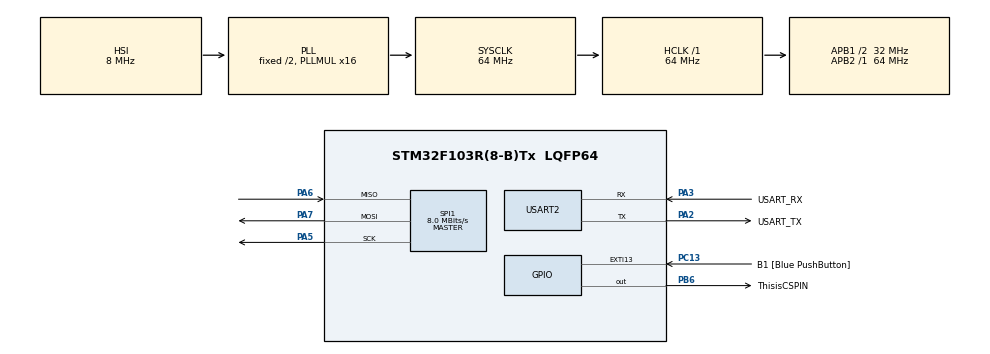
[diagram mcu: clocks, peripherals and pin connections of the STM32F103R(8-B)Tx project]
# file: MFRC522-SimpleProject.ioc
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Mcu.Family=STM32F1
PC15-OSC32_OUT.Mode=LSE-External-Oscillator
PA2.GPIO_PuPd=GPIO_NOPULL
PA6.Mode=Full_Duplex_Master
PA7.Mode=Full_Duplex_Master
PD1-OSC_OUT.Mode=HSE-External-Clock-Source
SPI1.VirtualType=VM_MASTER
PA14.GPIO_Label=TCK
PA3.GPIO_PuPd=GPIO_NOPULL
PA2.GPIO_Speed=GPIO_SPEED_FREQ_LOW
PC13-TAMPER-RTC.Signal=GPXTI13
PB6.GPIO_Label=ThisisCSPIN
PD0-OSC_IN.Signal=RCC_OSC_IN
RCC.APB1CLKDivider=RCC_HCLK_DIV2
PC14-OSC32_IN.Signal=RCC_OSC32_IN
PA3.GPIO_Speed=GPIO_SPEED_FREQ_LOW
RCC.SYSCLKSource=RCC_SYSCLKSOURCE_PLLCLK
ProjectManager.StackSize=0x400
PD1-OSC_OUT.Signal=RCC_OSC_OUT
PA13.Signal=SYS_JTMS-SWDIO
PA3.Mode=Asynchronous
ProjectManager.TargetToolchain=STM32CubeIDE
PA3.GPIO_Mode=GPIO_MODE_AF_PP
SPI1.Direction=SPI_DIRECTION_2LINES
RCC.HCLKFreq_Value=64000000
RCC.APB2TimFreq_Value=64000000
PB6.Signal=GPIO_Output
SPI1.CalculateBaudRate=8.0 MBits/s
RCC.USBFreq_Value=64000000
PC15-OSC32_OUT.Signal=RCC_OSC32_OUT
RCC.AHBFreq_Value=64000000
PD0-OSC_IN.Mode=HSE-External-Clock-Source
NVIC.EXTI15_10_IRQn=true\:0\:0\:false\:false\:true\:true\:true
PA5.Signal=SPI1_SCK
board=NUCLEO-F103RB
RCC.RTCClockSelection=RCC_RTCCLKSOURCE_LSE
PC13-TAMPER-RTC.GPIO_Label=B1 [Blue PushButton]
RCC.PLLMUL=RCC_PLL_MUL16
RCC.APB2Freq_Value=64000000
PC14-OSC32_IN.Mode=LSE-External-Oscillator
SPI1.Mode=SPI_MODE_MASTER
PA14.Mode=Serial_Wire
PA13.Mode=Serial_Wire
Mcu.Name=STM32F103R(8-B)Tx
PA2.Signal=USART2_TX
PA13.GPIO_Label=TMS
PB3.Signal=SYS_JTDO-TRACESWO
RCC.SYSCLKFreq_VALUE=64000000
Mcu.Package=LQFP64
PA6.Signal=SPI1_MISO
USART2.VirtualMode=VM_ASYNC
PC13-TAMPER-RTC.GPIO_PuPd=GPIO_NOPULL
PA2.GPIO_Label=USART_TX
PA14.Signal=SYS_JTCK-SWCLK
ProjectManager.HeapSize=0x200
NVIC.PriorityGroup=NVIC_PRIORITYGROUP_4
RCC.APB1TimFreq_Value=64000000
PA2.Mode=Asynchronous
RCC.APB1Freq_Value=32000000
SPI1.BaudRatePrescaler=SPI_BAUDRATEPRESCALER_8
PA3.GPIO_Label=USART_RX
PA3.Signal=USART2_RX
PA5.Mode=Full_Duplex_Master
PA7.Signal=SPI1_MOSI
PA2.GPIO_Mode=GPIO_MODE_AF_PP
PB3.GPIO_Label=SWO

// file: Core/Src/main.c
/* USER CODE BEGIN Header */
/**
  ******************************************************************************
  * @file           : main.c
  * @brief          : Main program body
  ******************************************************************************
  * @attention
  *
  * <h2><center>&copy; Copyright (c) 2021 STMicroelectronics.
  * All rights reserved.</center></h2>
  *
  * This software component is licensed by ST under BSD 3-Clause license,
  * the "License"; You may not use this file except in compliance with the
  * License. You may obtain a copy of the License at:
  *                        opensource.org/licenses/BSD-3-Clause
  *
  ******************************************************************************
  */
/* USER CODE END Header */
#include "main.h"

/* USER CODE BEGIN Includes */
#include "rc522.h"
#include <stdio.h>
#include <string.h>
/* USER CODE END Includes */

SPI_HandleTypeDef hspi1;

UART_HandleTypeDef huart2;

/* USER CODE BEGIN PV */
uint8_t str[MAX_LEN];
uint8_t UID[5];
uint8_t  KEY[] = {0xFF,0xFF,0xFF,0xFF,0xFF,0xFF};
uint8_t W[]="POZDRAWIAM";
uint8_t R[16];
/* USER CODE END PV */

void SystemClock_Config(void);
static void MX_GPIO_Init(void);
static void MX_USART2_UART_Init(void);
static void MX_SPI1_Init(void);

int main(void)
{

  /* MCU Configuration--------------------------------------------------------*/

  /* Reset of all peripherals, Initializes the Flash interface and the Systick. */
  HAL_Init();

  /* Configure the system clock */
  SystemClock_Config();

  /* Initialize all configured peripherals */
  MX_GPIO_Init();
  MX_USART2_UART_Init();
  MX_SPI1_Init();
  /* USER CODE BEGIN 2 */
  MFRC522_Init();
  char text[50];
  int size;
  uint32_t CardTime=0;
  /* USER CODE END 2 */

  /* Infinite loop */
  /* USER CODE BEGIN WHILE */
  while (1)
  {
	  HAL_Delay(100);
	  if(CardTime+1000< HAL_GetTick() )
	  {
			if((MFRC522_Request(PICC_REQIDL, str)==MFRC522_OK))
			{
				if (MFRC522_Anticoll(str)==MFRC522_OK)
				{
					memcpy(UID, str, 5);
					size = sprintf(text,"UID:%02X:%02X:%02X:%02X:%02X\n\r",UID[0],UID[1],UID[2],UID[3],UID[4]);
					HAL_UART_Transmit(&huart2,(uint8_t*) text, size, 100);
					MFRC522_SelectTag(UID);
					MFRC522_Auth(PICC_AUTHENT1A,2,KEY,UID);
					HAL_Delay(10);
					size = sprintf(text,"Write Block 2 on Card:%s\n\r",(char*)W);
					HAL_UART_Transmit(&huart2, (uint8_t*)text, size, 100);
					MFRC522_WriteBlock((uint8_t)2 , W);
					HAL_Delay(10);
					MFRC522_ReadBlock( 2, R);
					size = sprintf(text,"Read Block 2 from Card:%s\n\r",(char*)W);
					HAL_UART_Transmit(&huart2, (uint8_t*)text, size, 100);
					MFRC522_DeAuth();
					  CardTime=HAL_GetTick();
					}
				}
			}
    /* USER CODE END WHILE */

  }
}

void SystemClock_Config(void)
{
  RCC_OscInitTypeDef RCC_OscInitStruct = {0};
  RCC_ClkInitTypeDef RCC_ClkInitStruct = {0};

  /** Initializes the RCC Oscillators according to the specified parameters
  * in the RCC_OscInitTypeDef structure.
  */
  RCC_OscInitStruct.OscillatorType = RCC_OSCILLATORTYPE_HSI;
  RCC_OscInitStruct.HSIState = RCC_HSI_ON;
  RCC_OscInitStruct.HSICalibrationValue = RCC_HSICALIBRATION_DEFAULT;
  RCC_OscInitStruct.PLL.PLLState = RCC_PLL_ON;
  RCC_OscInitStruct.PLL.PLLSource = RCC_PLLSOURCE_HSI_DIV2;
  RCC_OscInitStruct.PLL.PLLMUL = RCC_PLL_MUL16;
  if (HAL_RCC_OscConfig(&RCC_OscInitStruct) != HAL_OK)
  {
    Error_Handler();
  }
  /** Initializes the CPU, AHB and APB buses clocks
  */
  RCC_ClkInitStruct.ClockType = RCC_CLOCKTYPE_HCLK|RCC_CLOCKTYPE_SYSCLK
                              |RCC_CLOCKTYPE_PCLK1|RCC_CLOCKTYPE_PCLK2;
  RCC_ClkInitStruct.SYSCLKSource = RCC_SYSCLKSOURCE_PLLCLK;
  RCC_ClkInitStruct.AHBCLKDivider = RCC_SYSCLK_DIV1;
  RCC_ClkInitStruct.APB1CLKDivider = RCC_HCLK_DIV2;
  RCC_ClkInitStruct.APB2CLKDivider = RCC_HCLK_DIV1;

  if (HAL_RCC_ClockConfig(&RCC_ClkInitStruct, FLASH_LATENCY_2) != HAL_OK)
  {
    Error_Handler();
  }
}

static void MX_SPI1_Init(void)
{

  /* SPI1 parameter configuration*/
  hspi1.Instance = SPI1;
  hspi1.Init.Mode = SPI_MODE_MASTER;
  hspi1.Init.Direction = SPI_DIRECTION_2LINES;
  hspi1.Init.DataSize = SPI_DATASIZE_8BIT;
  hspi1.Init.CLKPolarity = SPI_POLARITY_LOW;
  hspi1.Init.CLKPhase = SPI_PHASE_1EDGE;
  hspi1.Init.NSS = SPI_NSS_SOFT;
  hspi1.Init.BaudRatePrescaler = SPI_BAUDRATEPRESCALER_8;
  hspi1.Init.FirstBit = SPI_FIRSTBIT_MSB;
  hspi1.Init.TIMode = SPI_TIMODE_DISABLE;
  hspi1.Init.CRCCalculation = SPI_CRCCALCULATION_DISABLE;
  hspi1.Init.CRCPolynomial = 10;
  if (HAL_SPI_Init(&hspi1) != HAL_OK)
  {
    Error_Handler();
  }

}

static void MX_USART2_UART_Init(void)
{

  huart2.Instance = USART2;
  huart2.Init.BaudRate = 115200;
  huart2.Init.WordLength = UART_WORDLENGTH_8B;
  huart2.Init.StopBits = UART_STOPBITS_1;
  huart2.Init.Parity = UART_PARITY_NONE;
  huart2.Init.Mode = UART_MODE_TX_RX;
  huart2.Init.HwFlowCtl = UART_HWCONTROL_NONE;
  huart2.Init.OverSampling = UART_OVERSAMPLING_16;
  if (HAL_UART_Init(&huart2) != HAL_OK)
  {
    Error_Handler();
  }

}

static void MX_GPIO_Init(void)
{
  GPIO_InitTypeDef GPIO_InitStruct = {0};

  /* GPIO Ports Clock Enable */
  __HAL_RCC_GPIOC_CLK_ENABLE();
  __HAL_RCC_GPIOD_CLK_ENABLE();
  __HAL_RCC_GPIOA_CLK_ENABLE();
  __HAL_RCC_GPIOB_CLK_ENABLE();

  /*Configure GPIO pin Output Level */
  HAL_GPIO_WritePin(ThisisCSPIN_GPIO_Port, ThisisCSPIN_Pin, GPIO_PIN_RESET);

  /*Configure GPIO pin : B1_Pin */
  GPIO_InitStruct.Pin = B1_Pin;
  GPIO_InitStruct.Mode = GPIO_MODE_IT_RISING;
  GPIO_InitStruct.Pull = GPIO_NOPULL;
  HAL_GPIO_Init(B1_GPIO_Port, &GPIO_InitStruct);

  /*Configure GPIO pin : ThisisCSPIN_Pin */
  GPIO_InitStruct.Pin = ThisisCSPIN_Pin;
  GPIO_InitStruct.Mode = GPIO_MODE_OUTPUT_PP;
  GPIO_InitStruct.Pull = GPIO_NOPULL;
  GPIO_InitStruct.Speed = GPIO_SPEED_FREQ_LOW;
  HAL_GPIO_Init(ThisisCSPIN_GPIO_Port, &GPIO_InitStruct);

  /* EXTI interrupt init*/
  HAL_NVIC_SetPriority(EXTI15_10_IRQn, 0, 0);
  HAL_NVIC_EnableIRQ(EXTI15_10_IRQn);

}

void Error_Handler(void)
{
  __disable_irq();
  while (1)
  {
  }
}

/************************ (C) COPYRIGHT STMicroelectronics *****END OF FILE****/
